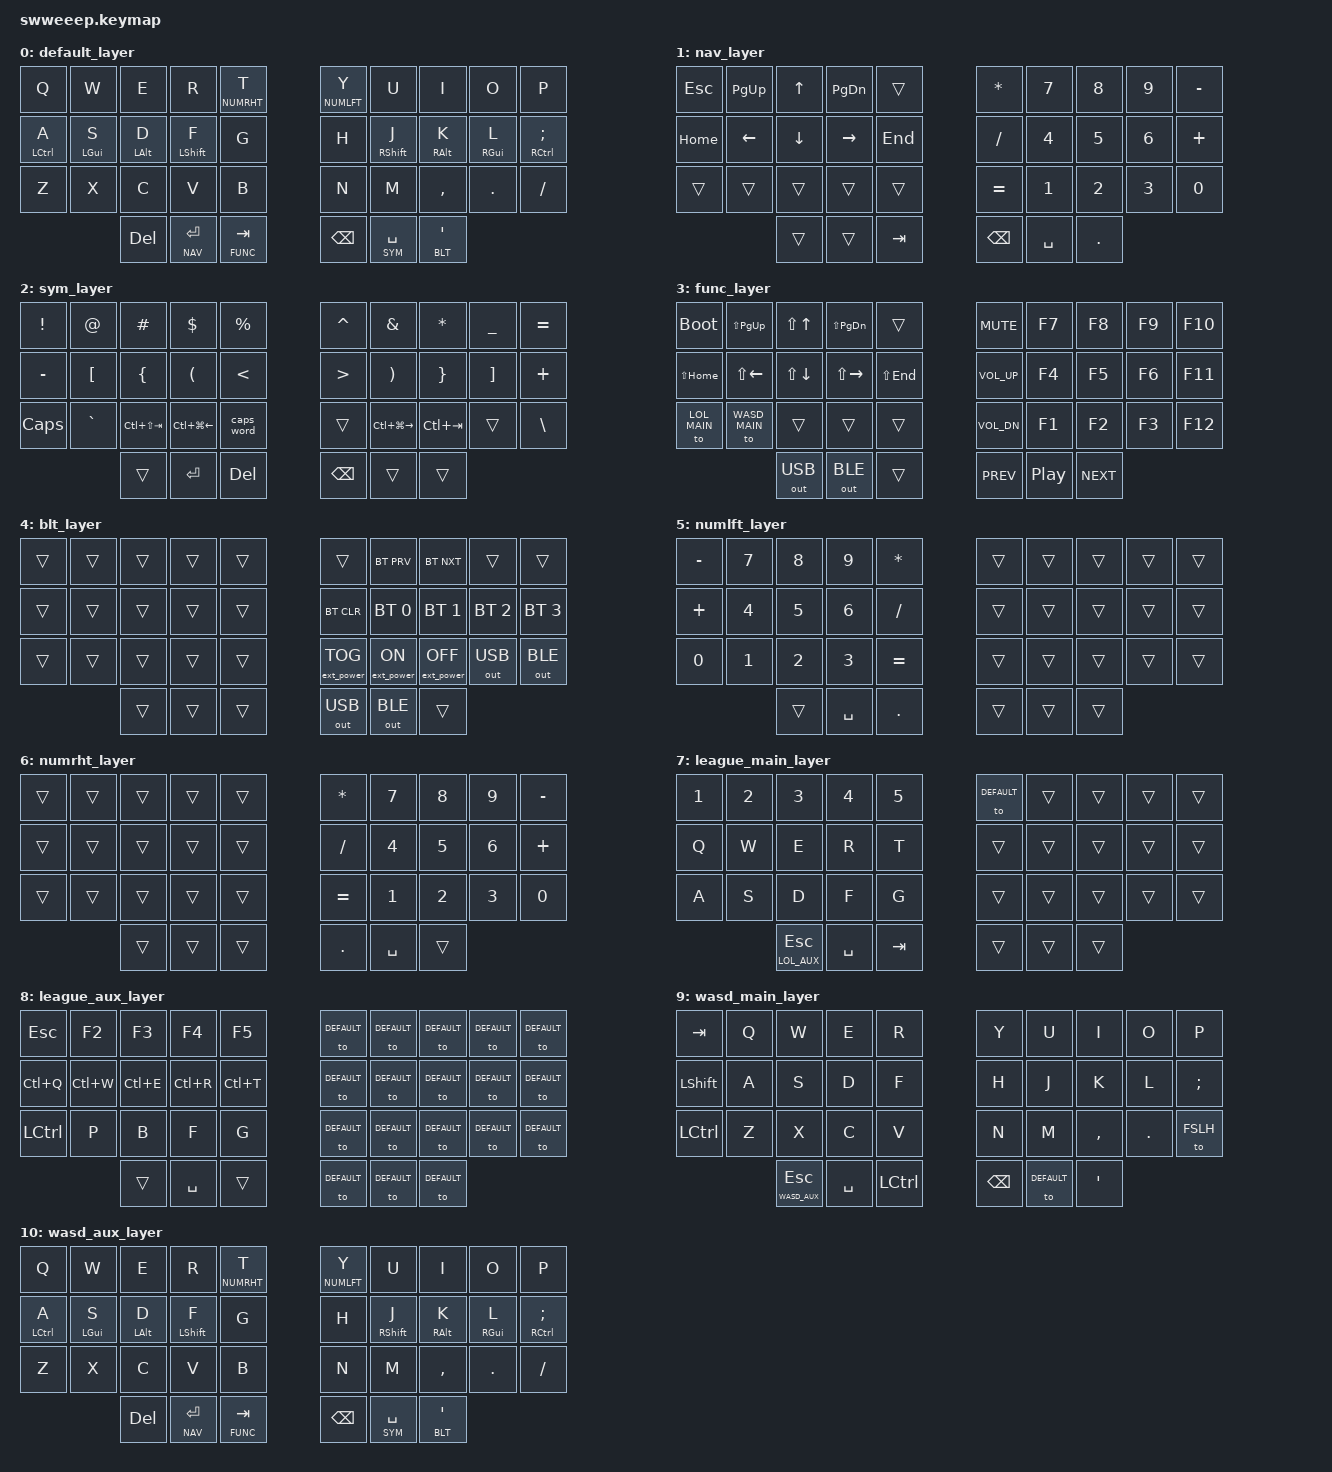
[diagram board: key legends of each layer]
#include <behaviors.dtsi>
#include <dt-bindings/zmk/keys.h>
#include <dt-bindings/zmk/bt.h>
#include <dt-bindings/zmk/ext_power.h>
#include <dt-bindings/zmk/outputs.h>

#define DEFAULT   0
#define NAV       1
#define SYM       2
#define FUNC      3
#define BLT       4
#define NUMLFT    5
#define NUMRHT    6
#define LOL_MAIN  7
#define LOL_AUX   8
#define WASD_MAIN 9
#define WASD_AUX  10

&caps_word {
    continue-list = <UNDERSCORE MINUS BACKSPACE>;
};

/ {
    combos {
        compatible = "zmk,combos";
        combo_undo {
            timeout-ms = <50>;
            key-positions = <20 21>;
            bindings = <&kp LC(Z)>;
        };
    };
};

/ {

    behaviors {
        hmr: homerow_mods_right {
            compatible = "zmk,behavior-hold-tap";
            #binding-cells = <2>;
            tapping-term-ms = <250>;
            flavor = "tap-unless-interrupted";
            require-prior-idle-ms = <50>;
            bindings = <&kp>, <&kp>;
        };
        hml: homerow_shift_left {
            compatible = "zmk,behavior-hold-tap";
            #binding-cells = <2>;
            tapping-term-ms = <250>;
            flavor = "tap-preferred";
            require-prior-idle-ms = <50>;
            bindings = <&kp>, <&kp>;
        };
    };

    keymap {
        compatible = "zmk,keymap";

        default_layer {
            bindings = <
    &kp Q        &kp W        &kp E       &kp R         &lt NUMRHT T                                 &lt NUMLFT Y  &kp U         &kp I         &kp O        &kp P
    &hml LCTL A  &hml LGUI S  &hml LALT D &hml LSHIFT F &kp G                                        &kp H         &hmr RSHIFT J &hmr RALT K   &hmr RGUI L  &hmr RCTL SEMI
    &kp Z        &kp X        &kp C       &kp V         &kp B                                        &kp N         &kp M         &kp COMMA     &kp DOT      &kp FSLH
                                          &kp DEL       &lt NAV RET  &lt FUNC TAB          &kp BSPC  &lt SYM SPACE &lt BLT SQT
            >;
        };

        nav_layer {
            bindings = <
    &kp ESC      &kp PG_UP    &kp UP      &kp PG_DN     &trans                                       &kp ASTRK     &kp N7       &kp N8        &kp N9      &kp MINUS
    &kp HOME     &kp LEFT     &kp DOWN    &kp RIGHT     &kp END                                      &kp FSLH      &kp N4       &kp N5        &kp N6      &kp PLUS
    &trans       &trans       &trans      &trans        &trans                                       &kp EQUAL     &kp N1       &kp N2        &kp N3      &kp N0
                                          &trans        &trans  &kp TAB                    &kp BSPC  &kp SPACE     &kp DOT
            >;
        };

        sym_layer {
            bindings = <
    &kp EXCL     &kp AT       &kp HASH        &kp DLLR         &kp PRCNT                              &kp CARET     &kp AMPS          &kp ASTRK     &kp UNDER   &kp EQUAL
    &kp MINUS    &kp LBKT     &kp LBRC        &kp LPAR         &kp LT                                 &kp GT        &kp RPAR          &kp RBRC      &kp RBKT    &kp PLUS
    &kp CAPS     &kp GRAVE    &kp LC(LS(TAB)) &kp LC(LG(LEFT)) &caps_word                             &trans        &kp LC(LG(RIGHT)) &kp LC(TAB)   &trans      &kp BSLH
                                              &trans           &kp RET  &kp DEL             &kp BSPC  &trans        &trans
            >;
        };

        func_layer {
            bindings = <
    &bootloader   &kp LS(PG_UP) &kp LS(UP)   &kp LS(PG_DN) &trans                                      &kp C_MUTE       &kp F7       &kp F8        &kp F9      &kp F10
    &kp LS(HOME)  &kp LS(LEFT)  &kp LS(DOWN) &kp LS(RIGHT) &kp LS(END)                                 &kp K_VOL_UP     &kp F4       &kp F5        &kp F6      &kp F11
    &to LOL_MAIN  &to WASD_MAIN &trans       &trans        &trans                                      &kp K_VOL_DN     &kp F1       &kp F2        &kp F3      &kp F12
                                             &out OUT_USB  &out OUT_BLE  &trans            &kp C_PREV  &kp C_PLAY_PAUSE &kp C_NEXT
            >;
        };

        blt_layer {
            bindings = <
    &trans       &trans       &trans        &trans        &trans                                      &trans             &bt BT_PRV        &bt BT_NXT         &trans         &trans
    &trans       &trans       &trans        &trans        &trans                                      &bt BT_CLR         &bt BT_SEL 0      &bt BT_SEL 1       &bt BT_SEL 2   &bt BT_SEL 3
    &trans       &trans       &trans        &trans        &trans                                      &ext_power EP_TOG  &ext_power EP_ON  &ext_power EP_OFF  &out OUT_USB   &out OUT_BLE
                                            &trans        &trans  &trans               &out OUT_USB   &out OUT_BLE       &trans
            >;
        };

        numlft_layer {
            bindings = <
    &kp MINUS   &kp N7       &kp N8       &kp N9    &kp ASTRK                                         &trans      &trans      &trans      &trans      &trans
    &kp PLUS    &kp N4       &kp N5       &kp N6    &kp FSLH                                          &trans      &trans      &trans      &trans      &trans
    &kp N0      &kp N1       &kp N2       &kp N3    &kp EQUAL                                         &trans      &trans      &trans      &trans      &trans
                                        &trans      &kp SPACE   &kp DOT                       &trans  &trans      &trans
            >;
        };

        numrht_layer {
            bindings = <
    &trans       &trans       &trans       &trans        &trans                                      &kp ASTRK      &kp N7       &kp N8        &kp N9      &kp MINUS
    &trans       &trans       &trans       &trans        &trans                                      &kp FSLH       &kp N4       &kp N5        &kp N6      &kp PLUS
    &trans       &trans       &trans       &trans        &trans                                      &kp EQUAL      &kp N1       &kp N2        &kp N3      &kp N0
                                           &trans        &trans  &trans                     &kp DOT  &kp SPACE      &trans
            >;
        };

        league_main_layer {
            bindings = <
    &kp N1       &kp N2       &kp N3       &kp N4           &kp N5                                     &to DEFAULT &trans       &trans        &trans      &trans
    &kp Q        &kp W        &kp E        &kp R            &kp T                                      &trans      &trans       &trans        &trans      &trans
    &kp A        &kp S        &kp D        &kp F            &kp G                                      &trans      &trans       &trans        &trans      &trans
                                           &lt LOL_AUX ESC  &kp SPACE  &kp TAB              &trans  &trans      &trans
            >;
        };

        league_aux_layer {
            bindings = <
    &kp ESC      &kp F2       &kp F3       &kp F4        &kp F5                                     &to DEFAULT      &to DEFAULT       &to DEFAULT        &to DEFAULT      &to DEFAULT
    &kp LC(Q)    &kp LC(W)    &kp LC(E)    &kp LC(R)     &kp LC(T)                                  &to DEFAULT      &to DEFAULT       &to DEFAULT        &to DEFAULT      &to DEFAULT
    &kp LCTL     &kp P        &kp B        &kp F         &kp G                                      &to DEFAULT      &to DEFAULT       &to DEFAULT        &to DEFAULT      &to DEFAULT
                                           &trans        &kp SPACE  &trans             &to DEFAULT  &to DEFAULT      &to DEFAULT
            >;
        };

        wasd_main_layer {
            bindings = <
    &kp TAB       &kp Q    &kp W    &kp E             &kp R                                          &kp Y         &kp U         &kp I         &kp O        &kp P
    &kp LSHIFT    &kp A    &kp S    &kp D             &kp F                                          &kp H         &kp J         &kp K         &kp L        &kp SEMI
    &kp LCTL      &kp Z    &kp X    &kp C             &kp V                                          &kp N         &kp M         &kp COMMA     &kp DOT      &to FSLH
                                    &lt WASD_AUX ESC  &kp SPACE  &kp LCTL                  &kp BSPC  &to DEFAULT   &kp SQT
            >;
        };

        // since 'default' is the "lowest priority layer" i need to replicate it here to get the leftmost thumbkey on 'wasd_main_layer' to work
        wasd_aux_layer {
            bindings = <
    &kp Q        &kp W        &kp E       &kp R         &lt NUMRHT T                                 &lt NUMLFT Y  &kp U         &kp I         &kp O        &kp P
    &hml LCTL A  &hml LGUI S  &hml LALT D &hml LSHIFT F &kp G                                        &kp H         &hmr RSHIFT J &hmr RALT K   &hmr RGUI L  &hmr RCTL SEMI
    &kp Z        &kp X        &kp C       &kp V         &kp B                                        &kp N         &kp M         &kp COMMA     &kp DOT      &kp FSLH
                                          &kp DEL       &lt NAV RET  &lt FUNC TAB          &kp BSPC  &lt SYM SPACE &lt BLT SQT
            >;
        };
    };
};
